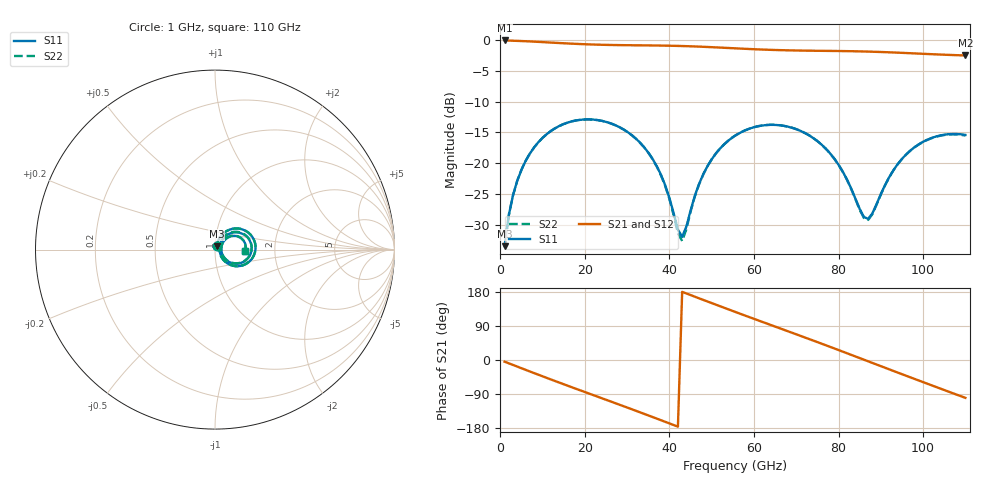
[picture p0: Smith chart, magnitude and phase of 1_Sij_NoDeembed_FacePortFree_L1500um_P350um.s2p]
! Touchstone file exported from HFSS 2024.2.0
!  File:  C:/Users/vaintrug/Documents/Ansoft_Workspace/Comparaison_Calculs_HFSS/1_VarPort.aedt
!  Generated:  03:22:17 PM Jan 21, 2025
!  Design:  1_NoDeembed_FacePortFree
!  Project:  1_VarPort
!  Setup:  Setup1
!  Solution:  Sweep
! Variables:
!  $Lenght = 1500um
!  $PortSize = 350um
!  Gap = 30um
!  Th = 2um
!  X_centralStrip = 20um
!  X_masse = 200um
!  Y_Sub = 1.5mm
!  Z_Box = 400um
!  Z_Sub = 200um
# GHz S MA R 50.000000
! Terminal data exported
! Port[1] = 1
! Port[2] = 2
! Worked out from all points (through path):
!   110 points, 1 GHz to 110 GHz, reference 50 ohm
!   highest |S21| = -0.10 dB at 1 GHz (marker M1); lowest = -2.5 dB at 110 GHz (marker M2)
!   group delay of S21, straight-line fit = 11.6 ps
!   lowest |S11| = -33.5 dB at 1 GHz (marker M3), VSWR 1.04, Z = 50.9 + j1.93 ohm
!   |S11| at or under -10 dB: start of sweep to end of sweep
!   |S22| runs from -33.5 to -12.9 dB; largest |S21 - S12| = 1.6e-14
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1  0.02123 63.0  0.9891 -4.4  0.9891 -4.4  0.02123 63.0
! Gamma 5.93806661422202 49.8216072174574 5.76711544263679 49.6063491198599
! Port Impedance 50 0 50 0
2  0.03802 69.8  0.9865 -8.8  0.9865 -8.8  0.03802 69.8
3  0.05516 70.0  0.984 -13.1  0.984 -13.1  0.05516 70.1
7  0.12 58.4  0.9711 -30.4  0.9711 -30.4  0.12 58.5
14  0.2007 31.2  0.9425 -59.9  0.9425 -59.9  0.2007 31.3
20  0.2263 8.0  0.9217 -84.6  0.9217 -84.6  0.2263 8.1
29  0.189 -25.4  0.9059 -121.4  0.9059 -121.4  0.1888 -25.2
34  0.1348 -41.9  0.9023 -142.1  0.9023 -142.1  0.1344 -41.9
38  0.08025 -50.2  0.8989 -158.9  0.8989 -158.9  0.07953 -50.8
43  0.02528 5.2  0.8912 179.8  0.8912 179.8  0.02336 7.0
46  0.05431 51.8  0.8842 167.1  0.8842 167.1  0.05374 54.6
49  0.09479 52.2  0.8756 154.4  0.8756 154.4  0.0947 54.2
56  0.171 32.3  0.8524 125.1  0.8524 125.1  0.1712 33.8
65  0.2043 1.4  0.8278 88.2  0.8278 88.2  0.2046 2.7
74  0.16 -28.1  0.8163 51.3  0.8163 51.3  0.16 -27.0
80  0.09711 -42.0  0.812 26.2  0.812 26.2  0.09686 -41.1
86  0.03662 -12.0  0.805 0.8  0.805 0.8  0.03587 -11.0
88  0.03919 22.5  0.8014 -7.7  0.8014 -7.7  0.03856 24.3
92  0.07727 44.2  0.7926 -24.7  0.7926 -24.7  0.07698 45.8
96  0.1179 39.2  0.782 -41.7  0.782 -41.7  0.1176 40.5
101  0.1551 25.6  0.7681 -62.6  0.7681 -62.6  0.1544 26.6
110  0.1695 -2.4  0.7474 -99.9  0.7474 -99.9  0.1677 -2.4
